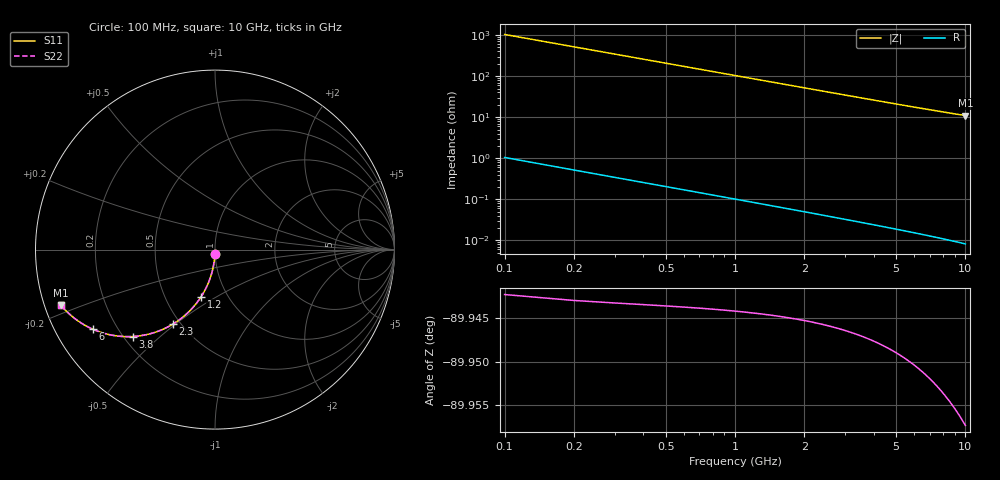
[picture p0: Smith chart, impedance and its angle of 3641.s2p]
# Hz S RI R 50.00
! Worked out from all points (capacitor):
!   100 points, 100 MHz to 10 GHz, reference 50 ohm
!   read as one part in shunt: C = 1.54 pF near 100 MHz
!   lowest |Z| = 11 ohm at 10 GHz (marker M1)
!   S11 on the Smith chart (normalised r, x): 100 MHz: 1.00, -0.05; 1.2 GHz: 0.75, -0.43; 2.3 GHz: 0.45, -0.49; 3.8 GHz: 0.23, -0.41; 6 GHz: 0.11, -0.29; 10 GHz: 0.05, -0.17
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1e8  -0.00051 -0.0237  0.9993 -0.0245  0.9993 -0.0245  -0.00051 -0.0237
2e8  -0.00227 -0.0474  0.9975 -0.0488  0.9975 -0.0488  -0.00227 -0.0474
3e8  -0.00518 -0.0709  0.9946 -0.073  0.9946 -0.073  -0.00518 -0.0709
4e8  -0.00921 -0.0941  0.9906 -0.097  0.9906 -0.097  -0.00921 -0.0941
5e8  -0.0143 -0.1171  0.9855 -0.1206  0.9855 -0.1206  -0.0143 -0.1171
6e8  -0.0205 -0.1396  0.9793 -0.1438  0.9793 -0.1438  -0.0205 -0.1396
7e8  -0.0278 -0.1616  0.972 -0.1666  0.972 -0.1666  -0.0278 -0.1616
9e8  -0.0451 -0.2041  0.9547 -0.2104  0.9547 -0.2104  -0.0451 -0.2041
1.2e9  -0.0775 -0.2628  0.9223 -0.2712  0.9223 -0.2712  -0.0775 -0.2628
1.5e9  -0.116 -0.3146  0.8837 -0.3252  0.8837 -0.3252  -0.116 -0.3146
1.8e9  -0.159 -0.3589  0.8407 -0.3717  0.8407 -0.3717  -0.159 -0.3589
2.3e9  -0.236 -0.4161  0.7636 -0.4324  0.7636 -0.4324  -0.236 -0.4161
2.8e9  -0.3144 -0.4539  0.6852 -0.4738  0.6852 -0.4738  -0.3144 -0.4539
3.4e9  -0.4038 -0.4781  0.5957 -0.5023  0.5957 -0.5023  -0.4038 -0.4781
3.8e9  -0.4587 -0.4842  0.5407 -0.5114  0.5407 -0.5114  -0.4587 -0.4842
4.4e9  -0.5326 -0.4826  0.4667 -0.5142  0.4667 -0.5142  -0.5326 -0.4826
5.1e9  -0.6057 -0.4697  0.3934 -0.5065  0.3934 -0.5065  -0.6057 -0.4697
6e9  -0.6812 -0.4435  0.3176 -0.487  0.3176 -0.487  -0.6812 -0.4435
6.7e9  -0.728 -0.4197  0.2706 -0.4685  0.2706 -0.4685  -0.728 -0.4197
7.5e9  -0.7713 -0.3915  0.227 -0.4464  0.227 -0.4464  -0.7713 -0.3915
8.4e9  -0.8098 -0.3601  0.188 -0.422  0.188 -0.422  -0.8098 -0.3601
1e10  -0.8593 -0.3082  0.1377 -0.3829  0.1377 -0.3829  -0.8593 -0.3082
